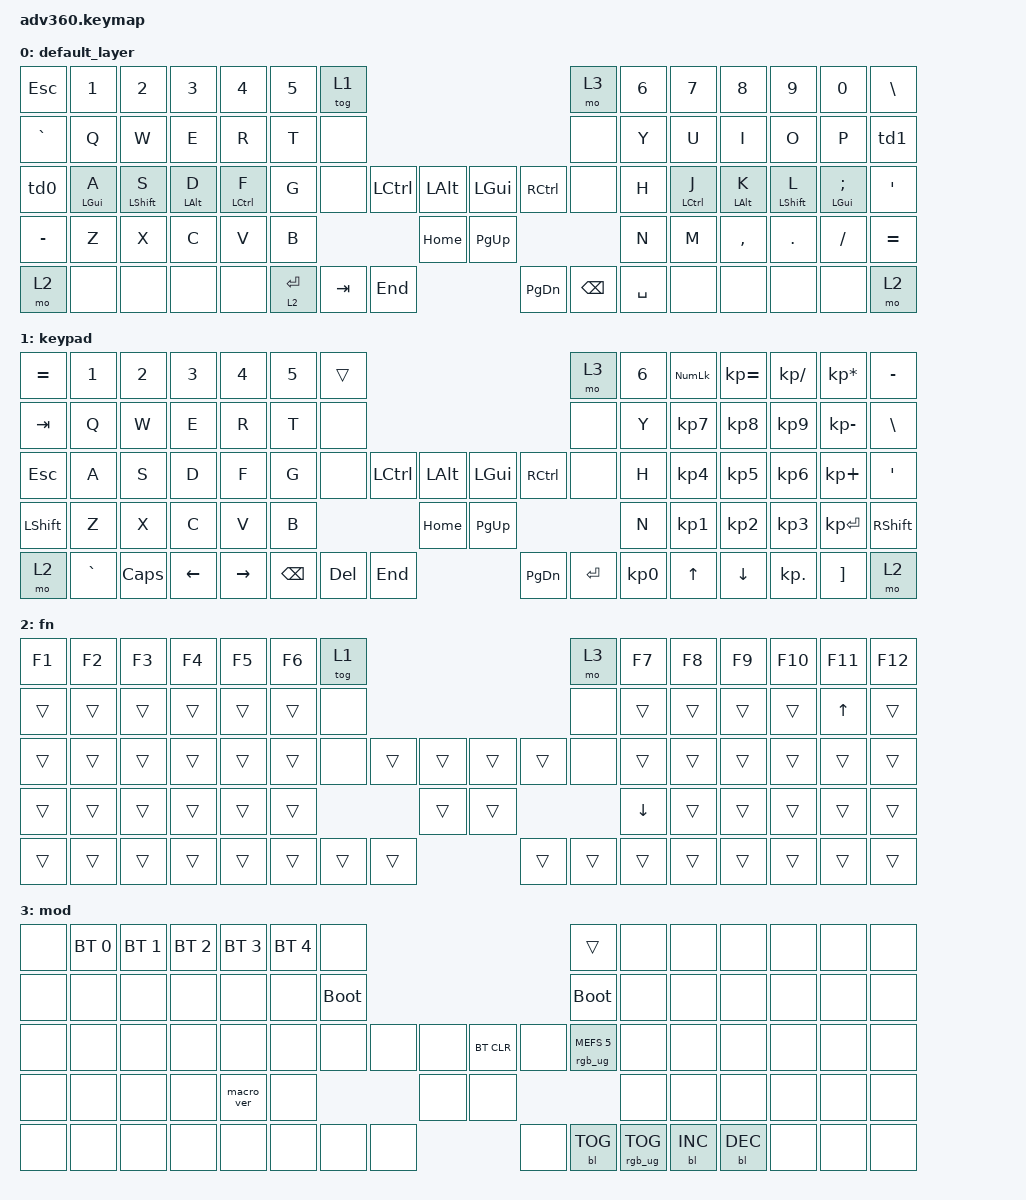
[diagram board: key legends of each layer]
#include <behaviors.dtsi>
#include <dt-bindings/zmk/keys.h>
#include <dt-bindings/zmk/bt.h>
#include <dt-bindings/zmk/rgb.h>
#include <dt-bindings/zmk/backlight.h>

/ {
    behaviors {
      #include "macros.dtsi"
      #include "version.dtsi"
      #ifndef VERSION_MACRO
      macro_ver: macro_ver {
        compatible = "zmk,behavior-macro";
        label = "macro_version";
        #binding-cells = <0>;
        bindings = <&kp RET>;
      };
      #endif

        td0: tap_dance_0 {
            compatible = "zmk,behavior-tap-dance";
            #binding-cells = <0>;
            tapping-term-ms = <200>;
            bindings = <&kp LPAR>, <&kp RPAR>;
        };
        td1: tap_dance_1 {
            compatible = "zmk,behavior-tap-dance";
            #binding-cells = <0>;
            tapping-term-ms = <200>;
            bindings = <&kp LBKT>, <&kp RBKT>;
        };
      hm: homerow_mods {
          compatible = "zmk,behavior-hold-tap";
          label = "HOMEROW_MODS";
          #binding-cells = <2>;
          tapping-term-ms = <200>;
          quick_tap_ms = <175>;
          flavor = "tap-preferred";
          bindings = <&kp>, <&kp>;
      };
    };

  keymap {
    compatible = "zmk,keymap";

    default_layer {
      bindings = <
        &kp ESC &kp N1    &kp N2   &kp N3   &kp N4     &kp N5 &tog 1                                                           &mo 3 &kp N6 &kp N7 &kp N8    &kp N9   &kp N0   &kp BSLH
        &kp GRAVE   &kp Q     &kp W    &kp E    &kp R      &kp T  &none                                                            &none &kp Y  &kp U  &kp I     &kp O    &kp P    &td1
        &td0   &hm LGUI A     &hm LSHFT S    &hm LALT D    &hm LCTRL F      &kp G  &none           &kp LCTRL &kp LALT &kp LGUI  &kp RCTRL           &none &kp H  &hm LCTRL J  &hm LALT K     &hm LSHFT L    &hm LGUI SEMI &kp SQT
        &kp MINUS &kp Z     &kp X    &kp C    &kp V      &kp B                            &kp HOME &kp PG_UP                           &kp N  &kp M  &kp COMMA &kp DOT  &kp FSLH &kp EQUAL
        &mo 2     &none &none &none &none                &lt 2 ENTER &kp TAB   &kp END  &kp PG_DN &kp BSPC &kp SPACE              &none &none  &none &none &mo 2
      >;
    };
    keypad {
      bindings = <
        &kp EQUAL &kp N1    &kp N2   &kp N3   &kp N4     &kp N5 &trans                                                           &mo 3 &kp N6 &kp KP_NUM &kp KP_EQUAL &kp KP_DIVIDE &kp KP_MULTIPLY &kp MINUS
        &kp TAB   &kp Q     &kp W    &kp E    &kp R      &kp T  &none                                                            &none &kp Y  &kp KP_N7  &kp KP_N8    &kp KP_N9     &kp KP_MINUS    &kp BSLH
        &kp ESC   &kp A     &kp S    &kp D    &kp F      &kp G  &none           &kp LCTRL &kp LALT &kp LGUI  &kp RCTRL           &none &kp H  &kp KP_N4  &kp KP_N5    &kp KP_N6     &kp KP_PLUS     &kp SQT
        &kp LSHFT &kp Z     &kp X    &kp C    &kp V      &kp B                            &kp HOME &kp PG_UP                           &kp N  &kp KP_N1  &kp KP_N2    &kp KP_N3     &kp KP_ENTER    &kp RSHFT
        &mo 2     &kp GRAVE &kp CAPS &kp LEFT &kp RIGHT                &kp BSPC &kp DEL   &kp END  &kp PG_DN &kp ENTER &kp KP_N0              &kp UP     &kp DOWN     &kp KP_DOT    &kp RBKT        &mo 2
      >;
    };
    fn {
      bindings = <
        &kp F1 &kp F2 &kp F3 &kp F4 &kp F5 &kp F6 &tog 1                                           &mo 3 &kp F7 &kp F8 &kp F9 &kp F10 &kp F11 &kp F12
        &trans &trans &trans &trans &trans &trans  &none                                           &none &trans &trans &trans &trans  &kp UP  &trans
        &trans &trans &trans &trans &trans &trans  &none        &trans &trans &trans &trans        &none &trans &trans &trans &trans  &trans  &trans
        &trans &trans &trans &trans &trans &trans                      &trans &trans                     &kp DOWN &trans &trans &trans  &trans  &trans
        &trans &trans &trans &trans &trans               &trans &trans &trans &trans &trans &trans              &trans &trans &trans  &trans  &trans
      >;
    };
    mod {
      bindings = <
        &none &bt BT_SEL 0 &bt BT_SEL 1 &bt BT_SEL 2 &bt BT_SEL 3 &bt BT_SEL 4 &none                                                                     &trans                 &none        &none        &none        &none &none &none
        &none &none        &none        &none        &none        &none        &bootloader                                                               &bootloader            &none        &none        &none        &none &none &none
        &none &none        &none        &none        &none        &none        &none                   &none &none &bt BT_CLR &none                      &rgb_ug RGB_MEFS_CMD 5 &none        &none        &none        &none &none &none
        &none &none        &none        &none        &macro_ver   &none                                      &none &none                                                        &none        &none        &none        &none &none &none
        &none &none        &none        &none        &none                                       &none &none &none &none      &bl BL_TOG &rgb_ug RGB_TOG                                     &bl BL_INC   &bl BL_DEC   &none &none &none
      >;
    };
  };
};
